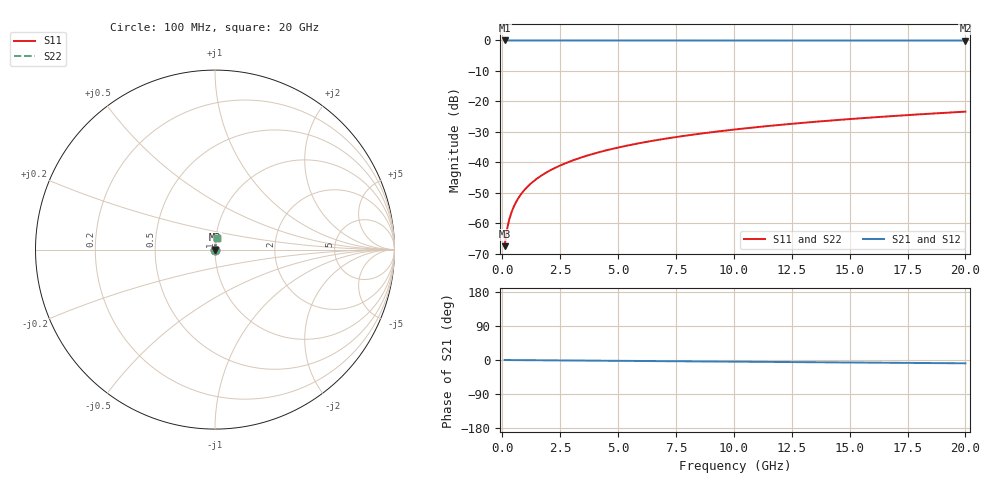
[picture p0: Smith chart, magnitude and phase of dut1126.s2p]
! Touchstone file exported from HFSS 2026.1.0
!  File:  C:/ffzhzh/LocalFiles/Ansys_Project_Files/temp_train_TSV_1126_1783191057_18472.aedt
!  Generated:  02:52:40 AM Jul  5, 2026
!  Design:  TSV
!  Project:  temp_train_TSV_1126_1783191057_18472
! Variables:
!  h_bsmrdl = 2um
!  h_ox = 20um
!  h_rdl = 5um
!  h_sub = 71.68um
!  h_tmrdl = 5um
!  h_tsv = 71.68um
!  h_via = 3um
!  l_bsmrdl = 300um
!  l_sub = 415.02um
!  l_tmrdl = 200um
!  m_sub = 200um
!  pitch = 57.64um
!  r_tsv = 7.51um
!  s_tmrdl = 10um
!  w_bsmrdl = 18um
!  w_sub = 500um
!  w_tmrdl = 12um
!  x_tsv_center1 = 206um
!  x_tsv_center2 = 524um
!  x_tsv_center3 = 736um
!  x_tsv_center4 = 1054um
!  x_tsv_center5 = 1266um
!  x_tsv_center6 = 1584um
# GHz S MA R 50.000000
! Terminal data exported
! Port[1] = TSV1_1_T1
! Port[2] = TSV1_1_T2
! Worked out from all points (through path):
!   200 points, 100 MHz to 20 GHz, reference 50 ohm
!   highest |S21| = 0.00 dB at 100 MHz (marker M1); lowest = 0.0 dB at 20 GHz (marker M2)
!   group delay of S21, straight-line fit = 1.21 ps
!   lowest |S11| = -67.6 dB at 100 MHz (marker M3), VSWR 1.00, Z = 50 + j0.0379 ohm
!   |S11| at or under -10 dB: start of sweep to end of sweep
!   |S22| runs from -67.6 to -23.4 dB; largest |S21 - S12| = 5.5e-15
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0.1  0.0004191 64.7  0.9998 -0.0  0.9998 -0.0  0.0004191 64.7
! Gamma 0 0 0 0
! Port Impedance 50 0 50 0
0.2  0.0007792 76.0  0.9998 -0.1  0.9998 -0.1  0.0007792 76.0
0.3  0.001148 79.8  0.9998 -0.1  0.9998 -0.1  0.001148 79.8
0.4  0.001516 81.6  0.9998 -0.2  0.9998 -0.2  0.001516 81.6
0.5  0.001881 82.5  0.9998 -0.2  0.9998 -0.2  0.001881 82.5
0.6  0.002243 83.2  0.9997 -0.3  0.9997 -0.3  0.002243 83.2
0.7  0.002601 83.6  0.9997 -0.3  0.9997 -0.3  0.002601 83.6
0.8  0.002957 83.9  0.9997 -0.4  0.9997 -0.4  0.002957 83.9
1  0.00366 84.4  0.9997 -0.5  0.9997 -0.5  0.00366 84.4
1.4  0.005053 85.0  0.9996 -0.6  0.9996 -0.6  0.005053 85.0
1.7  0.006091 85.3  0.9996 -0.8  0.9996 -0.8  0.006091 85.3
2  0.007128 85.5  0.9995 -0.9  0.9995 -0.9  0.007128 85.5
2.7  0.009542 85.7  0.9994 -1.2  0.9994 -1.2  0.009542 85.7
3.5  0.0123 85.8  0.9993 -1.5  0.9993 -1.5  0.0123 85.8
4.2  0.0147 85.7  0.9993 -1.9  0.9993 -1.9  0.0147 85.7
5  0.01743 85.5  0.9992 -2.2  0.9992 -2.2  0.01743 85.5
6.8  0.02356 85.0  0.9989 -3.0  0.9989 -3.0  0.02356 85.0
8.3  0.02864 84.6  0.9987 -3.6  0.9987 -3.6  0.02864 84.6
10.1  0.03472 83.9  0.9984 -4.4  0.9984 -4.4  0.03472 83.9
13.4  0.04582 82.7  0.9978 -5.9  0.9978 -5.9  0.04582 82.7
16.7  0.05684 81.4  0.9971 -7.3  0.9971 -7.3  0.05684 81.4
20  0.06778 80.1  0.9963 -8.7  0.9963 -8.7  0.06778 80.1
